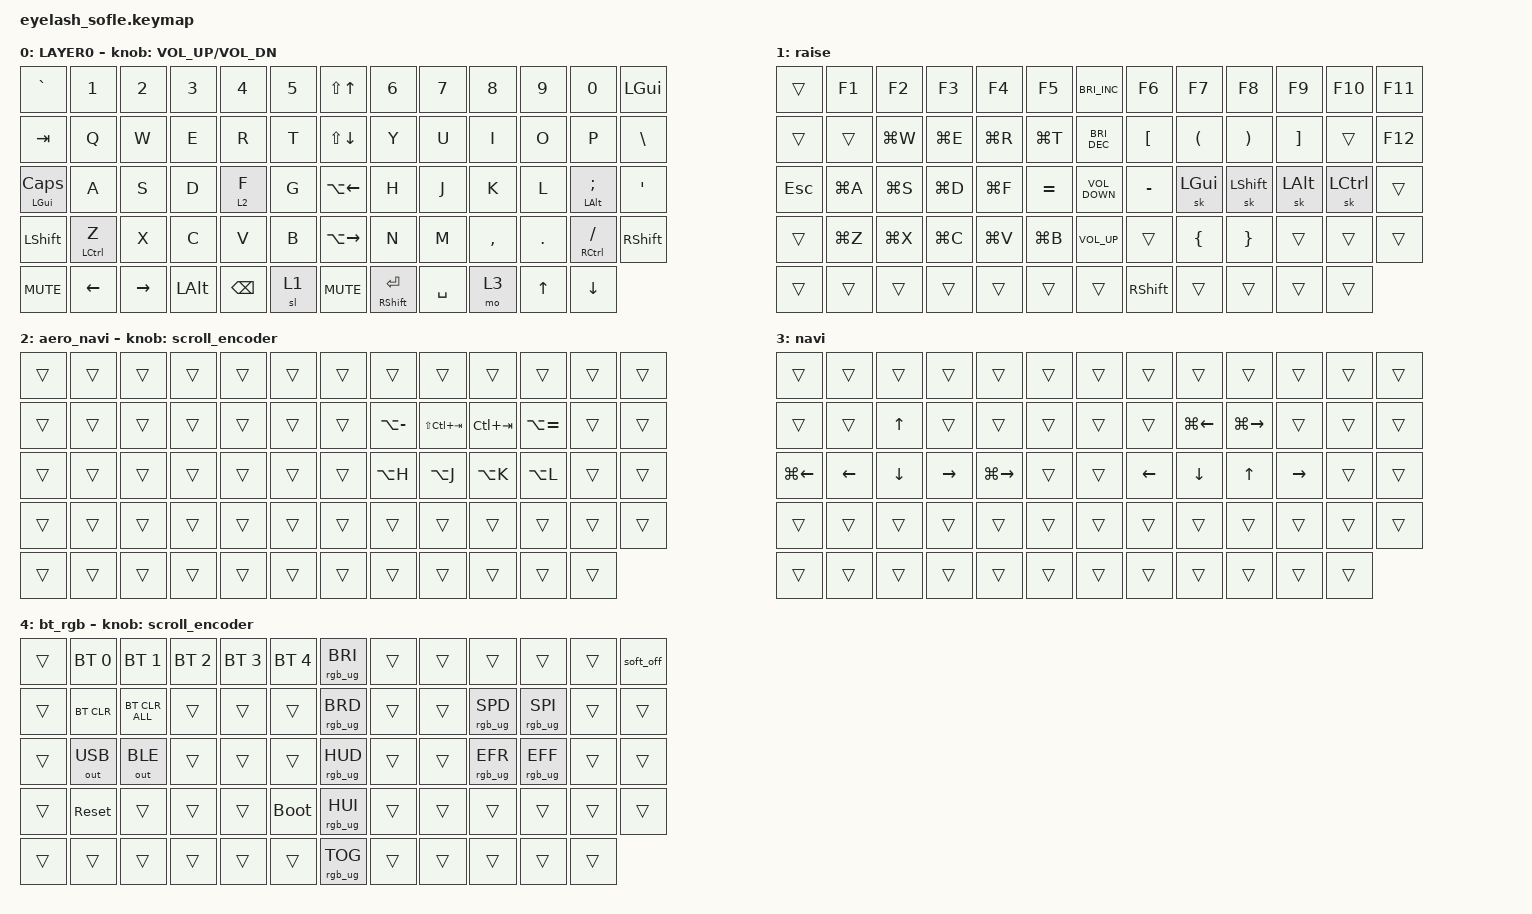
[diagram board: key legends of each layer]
#define ZMK_POINTING_DEFAULT_MOVE_VAL 1200  // 600
#define ZMK_POINTING_DEFAULT_SCRL_VAL 25   // 10

#include <input/processors.dtsi>
#include <zephyr/dt-bindings/input/input-event-codes.h>
#include <behaviors.dtsi>
#include <dt-bindings/zmk/bt.h>
#include <dt-bindings/zmk/keys.h>
#include <dt-bindings/zmk/outputs.h>
#include <dt-bindings/zmk/pointing.h>
#include <dt-bindings/zmk/rgb.h>

&mmv_input_listener { input-processors = <&zip_xy_scaler 2 1>; };

&msc_input_listener { input-processors = <&zip_scroll_scaler 2 1>; };

&msc {
    acceleration-exponent = <1>;      // 0
    time-to-max-speed-ms = <100>;       // 300
    delay-ms = <0>;                   // 0
};

&mmv {
    time-to-max-speed-ms = <500>;
    acceleration-exponent = <1>;
    trigger-period-ms = <16>;
};

&soft_off { hold-time-ms = <2000>; };

/ {
    scroll_encoder: scroll_encoder {
        compatible = "zmk,behavior-sensor-rotate";
        #sensor-binding-cells = <0>;
        bindings = <&msc SCRL_DOWN>, <&msc SCRL_UP>;

        tap-ms = <100>;
    };

    behaviors {
    };

    combos {
        compatible = "zmk,combos";

        softoff {
            bindings = <&soft_off>;
            key-positions = <14 28 40>;
        };

        bt_rgb_sticky_layer {
            bindings = <&sl 4>;
            key-positions = <50 51>;
        };

        screenshot4 {
            bindings = <&kp LS(LC(LG(NUMBER_4)))>;
            key-positions = <18 17>;
        };
    };

    macros {
        V_COPY: copy_and_clear {
            compatible = "zmk,behavior-macro";
            #binding-cells = <0>;
            bindings = <&kp LG(C) &to 4>;
            label = "COPY_AND_CLEAR";
        };

        V_CUT: cut {
            compatible = "zmk,behavior-macro";
            #binding-cells = <0>;
            bindings = <&kp LG(X) &to 4>;
            label = "CUT";
        };
    };

    keymap {
        compatible = "zmk,keymap";

        layer0 {
            bindings = <
&kp GRAVE              &kp N1       &kp N2     &kp N3        &kp N4         &kp N5    &kp LS(UP_ARROW)     &kp N6           &kp N7     &kp N8     &kp N9        &kp N0                  &kp LEFT_GUI
&kp TAB                &kp Q        &kp W      &kp E         &kp R          &kp T     &kp LS(DOWN_ARROW)   &kp Y            &kp U      &kp I      &kp O         &kp P                   &kp BACKSLASH
&mt LEFT_GUI CAPSLOCK  &kp A        &kp S      &kp D         &lt 2 F        &kp G     &kp LA(LEFT_ARROW)   &kp H            &kp J      &kp K      &kp L         &mt LEFT_ALT SEMI       &kp SQT
&kp LSHFT              &mt LCTRL Z  &kp X      &kp C         &kp V          &kp B     &kp LA(RIGHT_ARROW)  &kp N            &kp M      &kp COMMA  &kp DOT       &mt RIGHT_CONTROL FSLH  &kp RIGHT_SHIFT
&kp C_MUTE             &kp LEFT     &kp RIGHT  &kp LEFT_ALT  &kp BACKSPACE  &sl 1     &kp C_MUTE           &mt RSHFT ENTER  &kp SPACE  &mo 3      &kp UP_ARROW  &kp DOWN_ARROW
            >;

            sensor-bindings = <&inc_dec_kp C_VOLUME_UP C_VOL_DN>;
            display-name = "LAYER0";
        };

        raise {
            bindings = <
&trans      &kp F1     &kp F2     &kp F3     &kp F4     &kp F5       &kp C_BRIGHTNESS_INC  &kp F6            &kp F7                &kp F8                 &kp F9             &kp F10    &kp F11
&trans      &trans     &kp LG(W)  &kp LG(E)  &kp LG(R)  &kp LG(T)    &kp C_BRIGHTNESS_DEC  &kp LEFT_BRACKET  &kp LEFT_PARENTHESIS  &kp RIGHT_PARENTHESIS  &kp RIGHT_BRACKET  &trans     &kp F12
&kp ESCAPE  &kp LG(A)  &kp LG(S)  &kp LG(D)  &kp LG(F)  &kp EQUAL    &kp C_VOLUME_DOWN     &kp MINUS         &sk LEFT_GUI          &sk LEFT_SHIFT         &sk LEFT_ALT       &sk LCTRL  &trans
&trans      &kp LG(Z)  &kp LG(X)  &kp LG(C)  &kp LG(V)  &kp LG(B)    &kp C_VOLUME_UP       &trans            &kp LEFT_BRACE        &kp RIGHT_BRACE        &trans             &trans     &trans
&trans      &trans     &trans     &trans     &trans     &trans       &trans                &kp RIGHT_SHIFT   &trans                &trans                 &trans             &trans
            >;
        };

        aero_navi {
            bindings = <
&trans  &trans  &trans  &trans  &trans  &trans    &trans  &trans         &trans           &trans       &trans         &trans  &trans
&trans  &trans  &trans  &trans  &trans  &trans    &trans  &kp LA(MINUS)  &kp LS(LC(TAB))  &kp LC(TAB)  &kp LA(EQUAL)  &trans  &trans
&trans  &trans  &trans  &trans  &trans  &trans    &trans  &kp LA(H)      &kp LA(J)        &kp LA(K)    &kp LA(L)      &trans  &trans
&trans  &trans  &trans  &trans  &trans  &trans    &trans  &trans         &trans           &trans       &trans         &trans  &trans
&trans  &trans  &trans  &trans  &trans  &trans    &trans  &trans         &trans           &trans       &trans         &trans
            >;

            display-name = "aero_navi";
            sensor-bindings = <&scroll_encoder>;
        };

        navi {
            bindings = <
&trans              &trans    &trans    &trans     &trans               &trans    &trans  &trans    &trans              &trans               &trans           &trans  &trans
&trans              &trans    &kp UP    &trans     &trans               &trans    &trans  &trans    &kp LG(LEFT_ARROW)  &kp LG(RIGHT_ARROW)  &trans           &trans  &trans
&kp LG(LEFT_ARROW)  &kp LEFT  &kp DOWN  &kp RIGHT  &kp LG(RIGHT_ARROW)  &trans    &trans  &kp LEFT  &kp DOWN            &kp UP_ARROW         &kp RIGHT_ARROW  &trans  &trans
&trans              &trans    &trans    &trans     &trans               &trans    &trans  &trans    &trans              &trans               &trans           &trans  &trans
&trans              &trans    &trans    &trans     &trans               &trans    &trans  &trans    &trans              &trans               &trans           &trans
            >;
        };

        bt_rgb {
            bindings = <
&trans  &bt BT_SEL 0  &bt BT_SEL 1    &bt BT_SEL 2  &bt BT_SEL 3  &bt BT_SEL 4    &rgb_ug RGB_BRI  &trans  &trans  &trans           &trans           &trans  &soft_off
&trans  &bt BT_CLR    &bt BT_CLR_ALL  &trans        &trans        &trans          &rgb_ug RGB_BRD  &trans  &trans  &rgb_ug RGB_SPD  &rgb_ug RGB_SPI  &trans  &trans
&trans  &out OUT_USB  &out OUT_BLE    &trans        &trans        &trans          &rgb_ug RGB_HUD  &trans  &trans  &rgb_ug RGB_EFR  &rgb_ug RGB_EFF  &trans  &trans
&trans  &sys_reset    &trans          &trans        &trans        &bootloader     &rgb_ug RGB_HUI  &trans  &trans  &trans           &trans           &trans  &trans
&trans  &trans        &trans          &trans        &trans        &trans          &rgb_ug RGB_TOG  &trans  &trans  &trans           &trans           &trans
            >;

            display-name = "bt_rgb";
            sensor-bindings = <&scroll_encoder>;
        };
    };

    conditional_layers { compatible = "zmk,conditional-layers"; };
};
